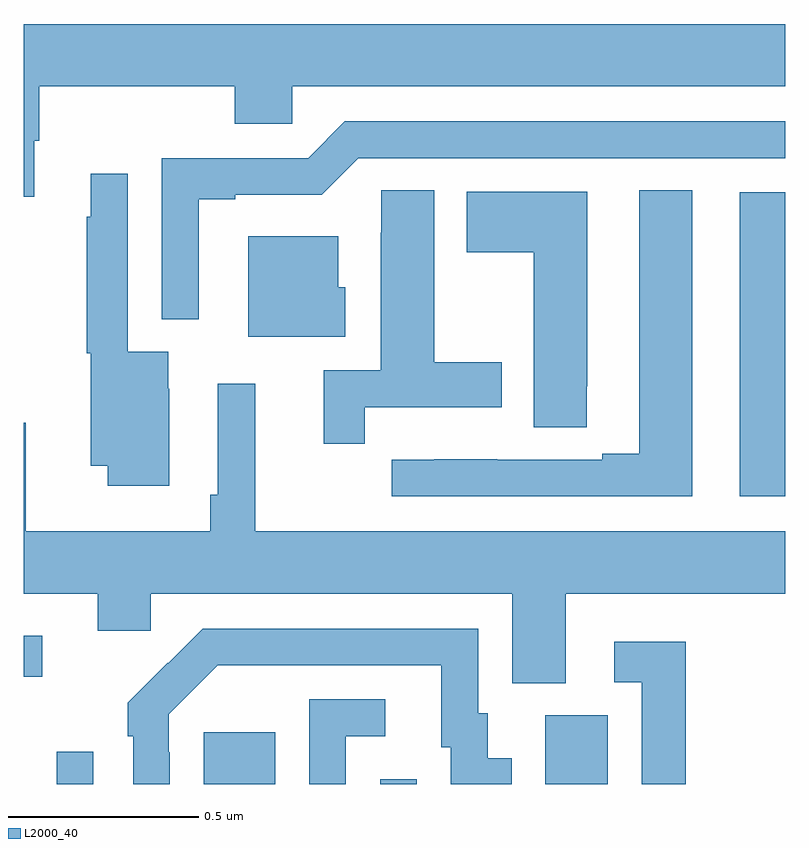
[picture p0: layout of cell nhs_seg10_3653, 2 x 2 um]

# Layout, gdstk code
import gdstk
lib = gdstk.Library(unit=1e-6, precision=1e-09)
def R(c, l, rs):  # rectangles x0, y0, x1, y1
    for r in rs: c.add(gdstk.rectangle(r[:2], r[2:], *l))
def P(c, l, *ps):  # polygons
    for p in ps: c.add(gdstk.Polygon(p, *l))
L2000_40 = (2000, 40)

nhs_seg10_3653 = lib.new_cell('nhs_seg10_3653')
R(nhs_seg10_3653, L2000_40, [(156.087,1282.5,156.183,1282.585), (156.473,1282.5,156.661,1282.636), (156.936,1282.5,157.032,1282.513), (157.37,1282.5,157.534,1282.68), (156,1282.782,156.049,1282.89), (157.88,1283.256,158,1284.054)])
P(nhs_seg10_3653, L2000_40, [(156.028,1284.19),(156.041,1284.19),(156.041,1284.332),(156.554,1284.332),(156.554,1284.234),(156.705,1284.234),(156.705,1284.332),(158,1284.332),(158,1284.496),(156,1284.496),(156,1284.042),(156.028,1284.042)],
  [(156.46,1284.036),(156.556,1284.036),(156.556,1284.048),(156.783,1284.048),(156.879,1284.144),(158,1284.144),(158,1284.24),(156.843,1284.24),(156.747,1284.144),(156.363,1284.144),(156.363,1283.72),(156.46,1283.72)],
  [(156.382,1283.538),(156.379,1283.538),(156.379,1283.635),(156.273,1283.635),(156.273,1284.103),(156.176,1284.103),(156.176,1283.99),(156.165,1283.99),(156.165,1283.631),(156.176,1283.631),(156.176,1283.336),(156.221,1283.336),(156.221,1283.283),(156.382,1283.283)],
  [(156.896,1283.49),(157.255,1283.49),(157.255,1283.607),(157.078,1283.607),(157.078,1284.059),(156.939,1284.059),(156.939,1283.948),(156.938,1283.948),(156.938,1283.586),(156.788,1283.586),(156.788,1283.394),(156.896,1283.394)],
  [(157.756,1284.059),(157.616,1284.059),(157.616,1283.367),(157.52,1283.367),(157.52,1283.352),(157.244,1283.352),(157.244,1283.353),(157.078,1283.353),(157.078,1283.352),(156.966,1283.352),(156.966,1283.256),(157.756,1283.256)],
  [(157.479,1283.545),(157.48,1283.545),(157.48,1284.055),(157.163,1284.055),(157.163,1283.896),(157.34,1283.896),(157.34,1283.437),(157.479,1283.437)],
  [(156.844,1283.805),(156.826,1283.805),(156.826,1283.938),(156.59,1283.938),(156.59,1283.675),(156.844,1283.675)],
  [(157.423,1283),(158,1283),(158,1283.164),(156.608,1283.164),(156.608,1283.551),(156.51,1283.551),(156.51,1283.26),(156.49,1283.26),(156.49,1283.164),(156.005,1283.164),(156.005,1283.449),(156,1283.449),(156,1283),(156.194,1283),(156.194,1282.902),(156.333,1282.902),(156.333,1283),(157.283,1283),(157.283,1282.765),(157.423,1282.765)],
  [(156.384,1282.583),(156.381,1282.583),(156.381,1282.683),(156.51,1282.812),(157.097,1282.812),(157.097,1282.596),(157.121,1282.596),(157.121,1282.5),(157.282,1282.5),(157.282,1282.567),(157.219,1282.567),(157.219,1282.686),(157.194,1282.686),(157.194,1282.908),(156.47,1282.908),(156.379,1282.817),(156.378,1282.818),(156.273,1282.713),(156.273,1282.625),(156.288,1282.625),(156.288,1282.5),(156.384,1282.5)],
  [(157.739,1282.873),(157.551,1282.873),(157.551,1282.767),(157.623,1282.767),(157.623,1282.5),(157.739,1282.5)],
  [(156.846,1282.626),(156.949,1282.626),(156.949,1282.722),(156.75,1282.722),(156.75,1282.5),(156.846,1282.5)])

lib.write_gds('nhs_seg10_3653.gds')
